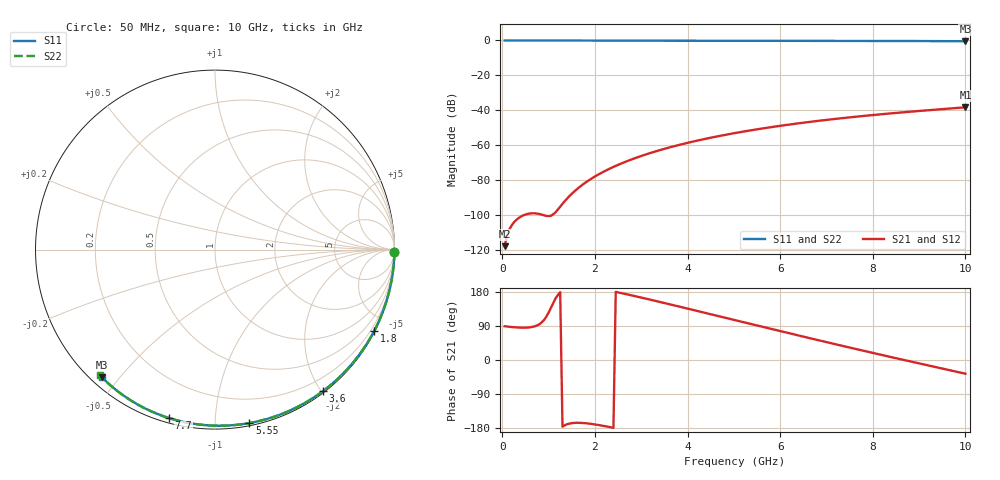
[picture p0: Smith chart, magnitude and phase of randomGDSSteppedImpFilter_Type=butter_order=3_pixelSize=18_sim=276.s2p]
! freq	dB(S11)	phase(S11)	dB(S12)	phase(S12)
!  dB(S21)	phase(S21)	dB(S22)	phase(S22)
!S-par simulation data
#  GHz  S  DB  R 50
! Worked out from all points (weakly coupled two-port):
!   200 points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, 50 MHz to 10 GHz, reference 50 ohm
!   highest |S21| = -38.37 dB at 10 GHz (marker M1); lowest = -118.0 dB at 50 MHz (marker M2)
!   lowest |S11| = -0.4 dB at 10 GHz (marker M3), VSWR 39.07, Z = 1.54 - j22.5 ohm
!   |S11| at or under -10 dB: nowhere
!   |S22| runs from -0.5 to 0.0 dB; largest |S21 - S12| = 0
!   S11 on the Smith chart (normalised r, x): 50 MHz: open; 1.8 GHz: 0.04, -4.16; 3.6 GHz: 0.02, -2.01; 5.55 GHz: 0.02, -1.22; 7.7 GHz: 0.02, -0.76; 10 GHz: 0.03, -0.45
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0.05  -0.00 -0.8  -118.01 89.1  -118.01 89.1  -0.00 -0.8
0.9  -0.02 -13.6  -100.29 105.4  -100.29 105.4  -0.02 -13.7
1.75  -0.03 -26.3  -82.41 -166.2  -82.41 -166.2  -0.03 -26.4
1.8  -0.03 -27.0  -81.46 -166.8  -81.46 -166.8  -0.03 -27.1
1.85  -0.04 -27.7  -80.55 -167.4  -80.55 -167.4  -0.04 -27.9
1.9  -0.04 -28.5  -79.68 -168.2  -79.68 -168.2  -0.04 -28.6
2.05  -0.04 -30.7  -77.27 -171.0  -77.27 -171.0  -0.04 -30.8
2.25  -0.04 -33.6  -74.44 -175.4  -74.44 -175.4  -0.04 -33.7
2.45  -0.05 -36.5  -71.94 179.7  -71.94 179.7  -0.05 -36.7
2.65  -0.05 -39.4  -69.70 174.5  -69.70 174.5  -0.05 -39.5
3  -0.06 -44.4  -66.27 164.8  -66.27 164.8  -0.06 -44.6
3.4  -0.07 -50.0  -62.93 153.3  -62.93 153.3  -0.07 -50.2
3.6  -0.07 -52.8  -61.44 147.5  -61.44 147.5  -0.07 -53.0
4.3  -0.09 -62.4  -56.92 126.8  -56.92 126.8  -0.09 -62.7
5.05  -0.11 -72.3  -53.00 104.5  -53.00 104.5  -0.11 -72.7
5.55  -0.13 -78.8  -50.77 89.6  -50.77 89.6  -0.13 -79.2
6.1  -0.15 -85.8  -48.60 73.4  -48.60 73.4  -0.15 -86.2
6.7  -0.18 -93.2  -46.51 55.9  -46.51 55.9  -0.18 -93.6
7.7  -0.24 -105.2  -43.57 27.2  -43.57 27.2  -0.24 -105.7
8.35  -0.29 -112.8  -41.93 8.9  -41.93 8.9  -0.29 -113.4
9.15  -0.36 -122.0  -40.13 -13.0  -40.13 -13.0  -0.36 -122.7
10  -0.44 -131.6  -38.37 -36.2  -38.37 -36.2  -0.45 -132.5
